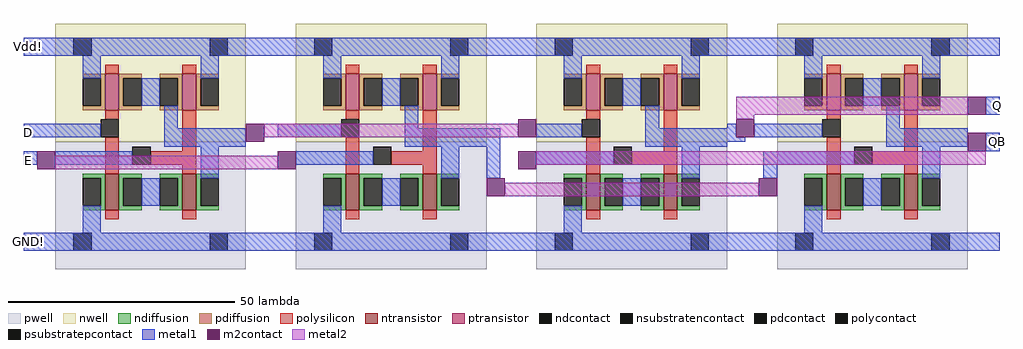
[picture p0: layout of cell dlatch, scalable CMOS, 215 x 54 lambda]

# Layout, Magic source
magic
tech scmos
<< metal1 >>
rect -7 47 208 51
rect 205 34 208 38
rect -7 29 0 32
rect 49 29 53 32
rect -7 23 -4 26
rect 95 20 98 31
rect 148 29 150 32
rect 154 29 159 32
rect 148 28 152 29
rect 205 26 208 30
rect 156 20 159 26
rect -7 4 208 8
<< m2contact >>
rect 201 34 205 38
rect 42 28 46 32
rect -4 22 0 26
rect 49 22 53 26
rect 102 29 106 33
rect 150 29 154 33
rect 201 26 205 30
rect 102 22 106 26
rect 95 16 99 20
rect 155 16 159 20
<< metal2 >>
rect 150 34 201 38
rect 150 33 154 34
rect 46 29 102 32
rect 0 22 49 25
rect 106 23 205 26
rect 99 16 155 19
use nand2  nand2_0
transform 1 0 0 0 1 0
box 0 0 42 54
use nand2  nand2_1
transform 1 0 53 0 1 0
box 0 0 42 54
use nand2  nand2_2
transform 1 0 106 0 1 0
box 0 0 42 54
use nand2  nand2_3
transform 1 0 159 0 1 0
box 0 0 42 54
<< labels >>
rlabel metal1 -6 49 -6 49 3 Vdd!
rlabel metal1 -6 6 -6 6 3 GND!
rlabel metal1 -6 30 -6 30 3 D
rlabel metal1 -6 24 -6 24 3 E
rlabel metal1 207 34 208 38 7 Q
rlabel metal1 207 26 208 30 7 QB
<< end >>

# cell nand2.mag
magic
tech scmos
<< nwell >>
rect 0 28 42 54
<< pwell >>
rect 0 0 42 28
<< ntransistor >>
rect 11 13 14 21
rect 28 13 31 21
<< ptransistor >>
rect 11 35 14 43
rect 28 35 31 43
<< ndiffusion >>
rect 6 20 11 21
rect 10 14 11 20
rect 6 13 11 14
rect 14 20 19 21
rect 14 14 15 20
rect 14 13 19 14
rect 23 20 28 21
rect 27 14 28 20
rect 23 13 28 14
rect 31 20 36 21
rect 31 14 32 20
rect 31 13 36 14
<< pdiffusion >>
rect 6 42 11 43
rect 10 36 11 42
rect 6 35 11 36
rect 14 42 19 43
rect 14 36 15 42
rect 14 35 19 36
rect 23 42 28 43
rect 27 36 28 42
rect 23 35 28 36
rect 31 42 36 43
rect 31 36 32 42
rect 31 35 36 36
<< ndcontact >>
rect 6 14 10 20
rect 15 14 19 20
rect 23 14 27 20
rect 32 14 36 20
<< pdcontact >>
rect 6 36 10 42
rect 15 36 19 42
rect 23 36 27 42
rect 32 36 36 42
<< psubstratepcontact >>
rect 4 4 8 8
rect 34 4 38 8
<< nsubstratencontact >>
rect 4 47 8 51
rect 34 47 38 51
<< polysilicon >>
rect 11 43 14 45
rect 28 43 31 45
rect 11 33 14 35
rect 11 21 14 29
rect 28 26 31 35
rect 21 23 31 26
rect 28 21 31 23
rect 11 11 14 13
rect 28 11 31 13
<< polycontact >>
rect 10 29 14 33
rect 17 23 21 27
<< metal1 >>
rect 0 47 4 51
rect 8 47 34 51
rect 38 47 42 51
rect 6 42 10 47
rect 32 42 36 47
rect 19 36 23 42
rect 0 29 10 32
rect 24 31 27 36
rect 24 27 42 31
rect 0 23 17 26
rect 32 20 36 27
rect 19 14 23 20
rect 6 8 10 14
rect 0 4 4 8
rect 8 4 34 8
rect 38 4 42 8
<< labels >>
rlabel metal1 20 6 20 6 1 GND!
rlabel metal1 2 24 2 24 1 B
rlabel metal1 2 30 2 30 1 A
rlabel metal1 20 48 20 48 1 Vdd!
rlabel metal1 39 29 39 29 1 OUT
<< end >>
